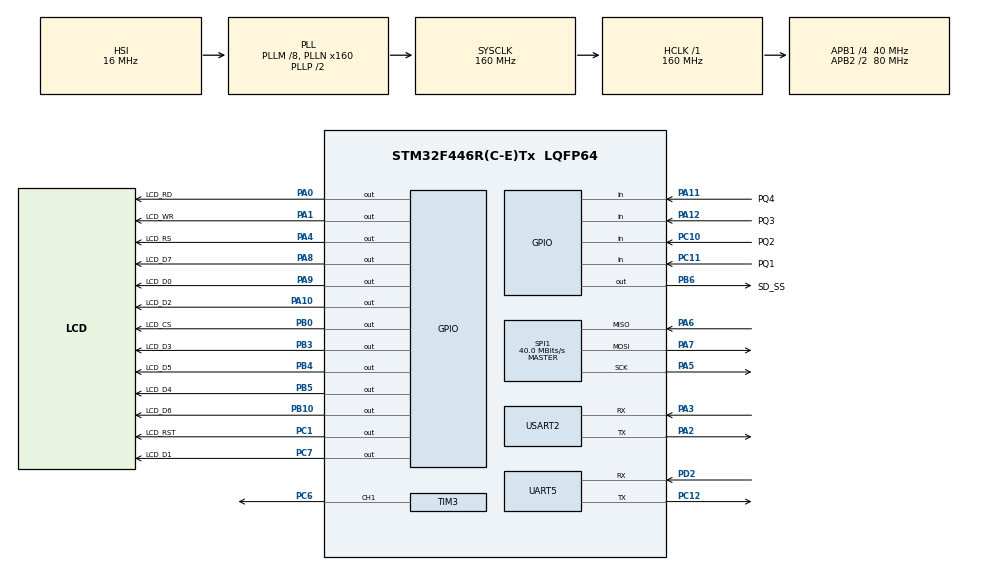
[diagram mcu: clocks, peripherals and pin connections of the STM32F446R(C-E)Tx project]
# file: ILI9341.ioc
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Dma.Request0=TIM3_CH1/TRIG
Dma.TIM3_CH1/TRIG.0.Direction=DMA_MEMORY_TO_PERIPH
Dma.TIM3_CH1/TRIG.0.FIFOMode=DMA_FIFOMODE_DISABLE
Dma.TIM3_CH1/TRIG.0.Instance=DMA1_Stream4
Dma.TIM3_CH1/TRIG.0.MemDataAlignment=DMA_MDATAALIGN_HALFWORD
Dma.TIM3_CH1/TRIG.0.MemInc=DMA_MINC_ENABLE
Dma.TIM3_CH1/TRIG.0.Mode=DMA_NORMAL
Dma.TIM3_CH1/TRIG.0.PeriphDataAlignment=DMA_PDATAALIGN_HALFWORD
Dma.TIM3_CH1/TRIG.0.PeriphInc=DMA_PINC_DISABLE
Dma.TIM3_CH1/TRIG.0.Priority=DMA_PRIORITY_LOW
Mcu.Family=STM32F4
Mcu.Name=STM32F446R(C-E)Tx
Mcu.Package=LQFP64
NVIC.DMA1_Stream4_IRQn=true\:0\:0\:false\:false\:true\:false\:true\:true
NVIC.PriorityGroup=NVIC_PRIORITYGROUP_4
NVIC.TIM3_IRQn=true\:0\:0\:false\:false\:true\:true\:true\:true
NVIC.UART5_IRQn=true\:0\:0\:false\:false\:true\:true\:true\:true
NVIC.USART2_IRQn=true\:0\:0\:false\:false\:true\:true\:true\:true
PA0-WKUP.GPIO_Label=LCD_RD
PA0-WKUP.GPIO_Speed=GPIO_SPEED_FREQ_HIGH
PA0-WKUP.Signal=GPIO_Output
PA1.GPIO_Label=LCD_WR
PA1.GPIO_Speed=GPIO_SPEED_FREQ_HIGH
PA1.Signal=GPIO_Output
PA10.GPIO_Label=LCD_D2
PA10.GPIO_Speed=GPIO_SPEED_FREQ_HIGH
PA10.Signal=GPIO_Output
PA11.GPIO_Label=PQ4
PA11.Signal=GPIO_Input
PA12.GPIO_Label=PQ3
PA12.Signal=GPIO_Input
PA13.Mode=Serial_Wire
PA13.Signal=SYS_JTMS-SWDIO
PA14.Mode=Serial_Wire
PA14.Signal=SYS_JTCK-SWCLK
PA2.Mode=Asynchronous
PA2.Signal=USART2_TX
PA3.Mode=Asynchronous
PA3.Signal=USART2_RX
PA4.GPIO_Label=LCD_RS
PA4.GPIO_Speed=GPIO_SPEED_FREQ_HIGH
PA4.Signal=GPIO_Output
PA5.Mode=Full_Duplex_Master
PA5.Signal=SPI1_SCK
PA6.Mode=Full_Duplex_Master
PA6.Signal=SPI1_MISO
PA7.Mode=Full_Duplex_Master
PA7.Signal=SPI1_MOSI
PA8.GPIO_Label=LCD_D7
PA8.GPIO_Speed=GPIO_SPEED_FREQ_HIGH
PA8.Signal=GPIO_Output
PA9.GPIO_Label=LCD_D0
PA9.GPIO_Speed=GPIO_SPEED_FREQ_HIGH
PA9.Signal=GPIO_Output
PB0.GPIO_Label=LCD_CS
PB0.GPIO_Speed=GPIO_SPEED_FREQ_HIGH
PB0.Signal=GPIO_Output
PB10.GPIO_Label=LCD_D6
PB10.GPIO_Speed=GPIO_SPEED_FREQ_HIGH
PB10.Signal=GPIO_Output
PB3.GPIO_Label=LCD_D3
PB3.GPIO_Speed=GPIO_SPEED_FREQ_HIGH
PB3.Signal=GPIO_Output
PB4.GPIO_Label=LCD_D5
PB4.GPIO_Speed=GPIO_SPEED_FREQ_HIGH
PB4.Signal=GPIO_Output
PB5.GPIO_Label=LCD_D4
PB5.GPIO_Speed=GPIO_SPEED_FREQ_HIGH
PB5.Signal=GPIO_Output
PB6.GPIO_Label=SD_SS
PB6.GPIO_Speed=GPIO_SPEED_FREQ_HIGH
PB6.Signal=GPIO_Output
PB9.Signal=I2C1_SDA
PC1.GPIO_Label=LCD_RST
PC1.GPIO_Speed=GPIO_SPEED_FREQ_HIGH
PC1.Signal=GPIO_Output
PC10.GPIO_Label=PQ2
PC10.Signal=GPIO_Input
PC11.GPIO_Label=PQ1
PC11.Signal=GPIO_Input
PC12.Mode=Asynchronous
PC12.Signal=UART5_TX
PC6.Signal=S_TIM3_CH1
PC7.GPIO_Label=LCD_D1
PC7.GPIO_Speed=GPIO_SPEED_FREQ_HIGH
PC7.Signal=GPIO_Output
PD2.Mode=Asynchronous
PD2.Signal=UART5_RX
PH0-OSC_IN.Mode=HSE-External-Oscillator
PH0-OSC_IN.Signal=RCC_OSC_IN
PH1-OSC_OUT.Mode=HSE-External-Oscillator
PH1-OSC_OUT.Signal=RCC_OSC_OUT
ProjectManager.HeapSize=0x200
ProjectManager.StackSize=0x400
ProjectManager.TargetToolchain=STM32CubeIDE
RCC.AHBFreq_Value=160000000
RCC.APB1CLKDivider=RCC_HCLK_DIV4
RCC.APB1Freq_Value=40000000
RCC.APB1TimFreq_Value=80000000
RCC.APB2CLKDivider=RCC_HCLK_DIV2
RCC.APB2Freq_Value=80000000
RCC.APB2TimFreq_Value=160000000
RCC.CortexFreq_Value=160000000
RCC.HCLKFreq_Value=160000000
RCC.PLLM=8
RCC.PLLN=160
RCC.SYSCLKFreq_VALUE=160000000
RCC.SYSCLKSource=RCC_SYSCLKSOURCE_PLLCLK
RCC.USBFreq_Value=160000000
RCC.VCOOutputFreq_Value=320000000
SH.S_TIM3_CH1.0=TIM3_CH1,PWM Generation1 CH1
SPI1.CalculateBaudRate=40.0 MBits/s
SPI1.Direction=SPI_DIRECTION_2LINES
SPI1.Mode=SPI_MODE_MASTER
SPI1.VirtualType=VM_MASTER
TIM3.Channel-PWM\ Generation1\ CH1=TIM_CHANNEL_1
TIM3.Period=24
TIM3.Prescaler=3
UART5.VirtualMode=Asynchronous
USART2.VirtualMode=VM_ASYNC
board=custom

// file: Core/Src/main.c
/* USER CODE BEGIN Header */
/**
 ******************************************************************************
 * @file           : main.c
 * @brief          : Main program body
 ******************************************************************************
 * @attention
 *
 * Copyright (c) 2024 STMicroelectronics.
 * All rights reserved.
 *
 * This software is licensed under terms that can be found in the LICENSE file
 * in the root directory of this software component.
 * If no LICENSE file comes with this software, it is provided AS-IS.
 *
 ******************************************************************************
 */
/* USER CODE END Header */
#include "main.h"

/* USER CODE BEGIN Includes */
#include "ili9341.h"
#include "bitmap.h"
/* USER CODE END Includes */

SPI_HandleTypeDef hspi1;

TIM_HandleTypeDef htim3;
DMA_HandleTypeDef hdma_tim3_ch1_trig;

UART_HandleTypeDef huart5;
UART_HandleTypeDef huart2;

/* USER CODE BEGIN PV */
extern uint8_t fondo[];

uint8_t option[1];
uint8_t tx_buffer[20];

int p1 = 1;
int p2 = 1;
int p3 = 1;
int p4 = 1;
int p5 = 1;
int p6 = 1;
int p7 = 1;
int p8 = 1;
int count = 0;
int m1 = 0;
int m12 = 0;
int m2 = 0;
int m22 = 0;
int m3 = 0;
int m32 = 0;
int m4 = 0;
int m42 = 0;
int m5 = 0;
int m52 = 0;
int m6 = 0;
int m62 = 0;
int m7 = 0;
int m72 = 0;
int m8 = 0;
int m82 = 0;

int PQ5 = 0;
int PQ6 = 0;
int PQ7 = 0;
int PQ8 = 0;
/* USER CODE END PV */

void SystemClock_Config(void);
static void MX_GPIO_Init(void);
static void MX_DMA_Init(void);
static void MX_SPI1_Init(void);
static void MX_TIM3_Init(void);
static void MX_USART2_UART_Init(void);
static void MX_UART5_Init(void);

/* USER CODE BEGIN 0 */
void parqueo1(){
		LCD_Sprite(15,230,37,6,car37X6,1,0,1,0);
		HAL_Delay(50);
		LCD_Sprite(15,220,37,16,car37X16,1,0,1,0);
		HAL_Delay(50);
		LCD_Sprite(15,210,37,26,car37X26,1,0,1,0);
		HAL_Delay(50);
		LCD_Sprite(15,200,37,36,car37X36,1,0,1,0);
		HAL_Delay(50);
		LCD_Sprite(15,190,37,46,car37X46,1,0,1,0);
		HAL_Delay(50);
		LCD_Sprite(15,180,37,56,car37X56,1,0,1,0);
		HAL_Delay(50);
		LCD_Sprite(15,170,37,65,car37X65,1,0,1,0);
		HAL_Delay(50);
		LCD_Sprite(15,160,37,75,car37X75,1,0,1,0);
		HAL_Delay(50);

};
void parq1(){
		LCD_Sprite(15,170,37,65,car37X65,1,0,1,0);
		FillRect(15, 160, 37, 10, 0x0000);
		HAL_Delay(50);
		LCD_Sprite(15,180,37,56,car37X56,1,0,1,0);
		FillRect(15, 170, 37, 10, 0x0000);
		HAL_Delay(50);
		LCD_Sprite(15,190,37,46,car37X46,1,0,1,0);
		FillRect(15, 180, 37, 10, 0x0000);
		HAL_Delay(50);
		LCD_Sprite(15,200,37,36,car37X36,1,0,1,0);
		FillRect(15, 190, 37, 10, 0x0000);
		HAL_Delay(50);
		LCD_Sprite(15,210,37,26,car37X26,1,0,1,0);
		FillRect(15, 200, 37, 10, 0x0000);
		HAL_Delay(50);
		LCD_Sprite(15,220,37,16,car37X16,1,0,1,0);
		FillRect(15, 210, 37, 10, 0x0000);
		HAL_Delay(50);
		LCD_Sprite(15,230,37,6,car37X6,1,0,1,0);
		FillRect(15, 220, 37, 10, 0x0000);
		HAL_Delay(50);
		FillRect(15, 230, 37, 10, 0x0000);
};
void parqueo2(){
		LCD_Bitmap(70, 230, 38,5, car38x5);
		HAL_Delay(50);
		LCD_Bitmap(70,220,38,15,car38x15);
		HAL_Delay(50);
		LCD_Bitmap(70,210,38,25,car38x25);
		HAL_Delay(50);
		LCD_Bitmap(70,200,38,35,car38x35);
		HAL_Delay(50);
		LCD_Bitmap(70,190,38,45,car38x45);
		HAL_Delay(50);
		LCD_Bitmap(70,180,38,55,car38x55);
		HAL_Delay(50);
		LCD_Bitmap(70,170,38,65,car38x65);
		HAL_Delay(50);
		LCD_Bitmap(70,160,38,75,car38x75);
		HAL_Delay(50);

};
void parq2(){
		LCD_Bitmap(70,170,38,65,car38x65);
		FillRect(70, 160, 38, 10, 0x0000);
		HAL_Delay(50);
		LCD_Bitmap(70,180,38,56,car38x55);
		FillRect(70, 170, 38, 10, 0x0000);
		HAL_Delay(50);
		LCD_Bitmap(70,190,38,45,car38x45);
		FillRect(70, 180, 38, 10, 0x0000);
		HAL_Delay(50);
		LCD_Bitmap(70,200,38,35,car38x35);
		FillRect(70, 190, 38, 10, 0x0000);
		HAL_Delay(50);
		LCD_Bitmap(70,210,38,25,car38x25);
		FillRect(70, 200, 38, 10, 0x0000);
		HAL_Delay(50);
		LCD_Bitmap(70,220,38,15,car38x15);
		FillRect(70, 210, 38, 10, 0x0000);
		HAL_Delay(50);
		LCD_Bitmap(70,230,38,5,car38x5);
		FillRect(70, 220, 38, 10, 0x0000);
		HAL_Delay(50);
		FillRect(70, 230, 38, 10, 0x0000);
};
void parqueo3(){
		LCD_Bitmap(123, 230, 36,5, car36x5);
		HAL_Delay(50);
		LCD_Bitmap(123,220,36,15,car36x15);
		HAL_Delay(50);
		LCD_Bitmap(123,210,36,25,car36x25);
		HAL_Delay(50);
		LCD_Bitmap(123,200,36,35,car36x35);
		HAL_Delay(50);
		LCD_Bitmap(123,190,36,45,car36x45);
		HAL_Delay(50);
		LCD_Bitmap(123,180,36,55,car36x55);
		HAL_Delay(50);
		LCD_Bitmap(123,170,36,65,car36x65);
		HAL_Delay(50);
		LCD_Bitmap(123,160,36,75,car36x75);
		HAL_Delay(50);

};
void parq3(){
		LCD_Bitmap(123,170,36,65,car36x65);
		FillRect(123, 160, 36, 10, 0x0000);
		HAL_Delay(50);
		LCD_Bitmap(123,180,36,56,car36x55);
		FillRect(123, 170, 36, 10, 0x0000);
		HAL_Delay(50);
		LCD_Bitmap(123,190,36,45,car36x45);
		FillRect(123, 180, 36, 10, 0x0000);
		HAL_Delay(50);
		LCD_Bitmap(123,200,36,35,car36x35);
		FillRect(123, 190, 36, 10, 0x0000);
		HAL_Delay(50);
		LCD_Bitmap(123,210,36,25,car36x25);
		FillRect(123, 200, 36, 10, 0x0000);
		HAL_Delay(50);
		LCD_Bitmap(123,220,36,15,car36x15);
		FillRect(123, 210, 36, 10, 0x0000);
		HAL_Delay(50);
		LCD_Bitmap(123,230,36,5,car36x5);
		FillRect(123, 220, 36, 10, 0x0000);
		HAL_Delay(50);
		FillRect(123, 230, 36, 10, 0x0000);
};
void parqueo4(){
		LCD_Bitmap(180, 230, 38,5, caro38x5);
		HAL_Delay(50);
		LCD_Bitmap(180,220,38,15,caro38x15);
		HAL_Delay(50);
		LCD_Bitmap(180,210,38,25,caro38x25);
		HAL_Delay(50);
		LCD_Bitmap(180,200,38,35,caro38x35);
		HAL_Delay(50);
		LCD_Bitmap(180,190,38,45,caro38x45);
		HAL_Delay(50);
		LCD_Bitmap(180,180,38,55,caro38x55);
		HAL_Delay(50);
		LCD_Bitmap(180,170,38,65,caro38x65);
		HAL_Delay(50);
		LCD_Bitmap(180,160,38,75,caro38x75);
		HAL_Delay(50);

};
void parq4(){
		LCD_Bitmap(180,170,38,65,caro38x65);
		FillRect(180, 160, 38, 10, 0x0000);
		HAL_Delay(50);
		LCD_Bitmap(180,180,38,56,caro38x55);
		FillRect(180, 170, 38, 10, 0x0000);
		HAL_Delay(50);
		LCD_Bitmap(180,190,38,45,caro38x45);
		FillRect(180, 180, 38, 10, 0x0000);
		HAL_Delay(50);
		LCD_Bitmap(180,200,38,35,caro38x35);
		FillRect(180, 190, 38, 10, 0x0000);
		HAL_Delay(50);
		LCD_Bitmap(180,210,38,25,caro38x25);
		FillRect(180, 200, 38, 10, 0x0000);
		HAL_Delay(50);
		LCD_Bitmap(180,220,38,15,caro38x15);
		FillRect(180, 210, 38, 10, 0x0000);
		HAL_Delay(50);
		LCD_Bitmap(180,230,38,5,caro38x5);
		FillRect(180, 220, 38, 10, 0x0000);
		HAL_Delay(50);
		FillRect(180, 230, 38, 10, 0x0000);
};
void parqueo5(){
		LCD_Bitmap(15, 5, 35,5, car35x5);
		HAL_Delay(50);
		LCD_Bitmap(15,5,35,15,car35x15);
		HAL_Delay(50);
		LCD_Bitmap(15,5,35,25,car35x25);
		HAL_Delay(50);
		LCD_Bitmap(15,5,35,35,car35x35);
		HAL_Delay(50);
		LCD_Bitmap(15,5,35,45,car35x45);
		HAL_Delay(50);
		LCD_Bitmap(15,5,35,55,car35x55);
		HAL_Delay(50);
		LCD_Bitmap(15,5,35,65,car35x65);
		HAL_Delay(50);
		LCD_Bitmap(15,5,35,75,car35x75);
		HAL_Delay(50);

};
void parq5(){
		FillRect(15, 70, 35, 10, 0x0000);
		LCD_Bitmap(15, 5,35,65,car35x65);
		HAL_Delay(50);
		FillRect(15, 60, 35, 10, 0x0000);
		LCD_Bitmap(15,5,35,56,car35x55);
		HAL_Delay(50);
		FillRect(15, 49, 35, 12, 0x0000);
		LCD_Bitmap(15,5,35,45,car35x45);
		HAL_Delay(50);
		FillRect(15,40, 35, 10, 0x0000);
		LCD_Bitmap(15,5,35,35,car35x35);
		HAL_Delay(50);
		FillRect(15, 30, 35, 10, 0x0000);
		LCD_Bitmap(15,5,35,25,car35x25);
		HAL_Delay(50);
		FillRect(15, 20, 35, 10, 0x0000);
		LCD_Bitmap(15,5,35,15,car35x15);
		HAL_Delay(50);
		FillRect(15, 10, 35, 10, 0x0000);
		LCD_Bitmap(15,5,35,5,car35x5);
		HAL_Delay(50);
		FillRect(15, 5, 35, 10, 0x0000);

};
void parqueo6(){
		LCD_Bitmap(70, 5, 38,5, cars38x5);
		HAL_Delay(50);
		LCD_Bitmap(70,5,38,15,cars38x15);
		HAL_Delay(50);
		LCD_Bitmap(70,5,38,25,cars38x25);
		HAL_Delay(50);
		LCD_Bitmap(70,5,38,35,cars38x35);
		HAL_Delay(50);
		LCD_Bitmap(70,5,38,45,cars38x45);
		HAL_Delay(50);
		LCD_Bitmap(70,5,38,55,cars38x55);
		HAL_Delay(50);
		LCD_Bitmap(70,5,38,65,cars38x65);
		HAL_Delay(50);
		LCD_Bitmap(70,5,38,75,cars38x75);
		HAL_Delay(50);

};
void parq6(){
		FillRect(70, 70, 38, 10, 0x0000);
		LCD_Bitmap(70, 5,38,65,cars38x65);
		HAL_Delay(50);
		FillRect(70, 60, 38, 10, 0x0000);
		LCD_Bitmap(70,5,38,56,cars38x55);
		HAL_Delay(50);
		FillRect(70, 49, 38, 12, 0x0000);
		LCD_Bitmap(70,5,38,45,cars38x45);
		HAL_Delay(50);
		FillRect(70,40, 38, 10, 0x0000);
		LCD_Bitmap(70,5,38,35,cars38x35);
		HAL_Delay(50);
		FillRect(70, 30, 38, 10, 0x0000);
		LCD_Bitmap(70,5,38,25,cars38x25);
		HAL_Delay(50);
		FillRect(70, 20, 38, 10, 0x0000);
		LCD_Bitmap(70,5,38,15,cars38x15);
		HAL_Delay(50);
		FillRect(70, 10, 38, 10, 0x0000);
		LCD_Bitmap(70,5,38,5,cars38x5);
		HAL_Delay(50);
		FillRect(70, 5, 38, 10, 0x0000);

};
void parqueo7(){
		LCD_Bitmap(123, 5, 37,5, cars37x5);
		HAL_Delay(50);
		LCD_Bitmap(123,5,37,15,cars37x15);
		HAL_Delay(50);
		LCD_Bitmap(123,5,37,25,cars37x25);
		HAL_Delay(50);
		LCD_Bitmap(123,5,37,35,cars37x35);
		HAL_Delay(50);
		LCD_Bitmap(123,5,37,45,cars37x45);
		HAL_Delay(50);
		LCD_Bitmap(123,5,37,55,cars37x55);
		HAL_Delay(50);
		LCD_Bitmap(123,5,37,65,cars37x65);
		HAL_Delay(50);
		LCD_Bitmap(123,5,37,75,cars37x75);
		HAL_Delay(50);

};
void parq7(){
		FillRect(123, 70, 37, 10, 0x0000);
		LCD_Bitmap(123, 5,37,65,cars37x65);
		HAL_Delay(50);
		FillRect(123, 60, 37, 10, 0x0000);
		LCD_Bitmap(123,5,37,56,cars37x55);
		HAL_Delay(50);
		FillRect(123, 49, 37, 12, 0x0000);
		LCD_Bitmap(123,5,37,45,cars37x45);
		HAL_Delay(50);
		FillRect(123,40, 37, 10, 0x0000);
		LCD_Bitmap(123,5,37,35,cars37x35);
		HAL_Delay(50);
		FillRect(123, 30, 37, 10, 0x0000);
		LCD_Bitmap(123,5,37,25,cars37x25);
		HAL_Delay(50);
		FillRect(123, 20, 37, 10, 0x0000);
		LCD_Bitmap(123,5,37,15,cars37x15);
		HAL_Delay(50);
		FillRect(123, 10, 37, 10, 0x0000);
		LCD_Bitmap(123,5,37,5,cars37x5);
		HAL_Delay(50);
		FillRect(123, 5, 37, 10, 0x0000);

};
void parqueo8(){
		LCD_Bitmap(180, 5, 38,5, caros38x5);
		HAL_Delay(50);
		LCD_Bitmap(180,5,38,15,caros38x15);
		HAL_Delay(50);
		LCD_Bitmap(180,5,38,25,caros38x25);
		HAL_Delay(50);
		LCD_Bitmap(180,5,38,35,caros38x35);
		HAL_Delay(50);
		LCD_Bitmap(180,5,38,45,caros38x45);
		HAL_Delay(50);
		LCD_Bitmap(180,5,38,55,caros38x55);
		HAL_Delay(50);
		LCD_Bitmap(180,5,38,65,caros38x65);
		HAL_Delay(50);
		LCD_Bitmap(180,5,38,75,caros38x75);
		HAL_Delay(50);

};
void parq8(){
		FillRect(180, 70, 38, 10, 0x0000);
		LCD_Bitmap(180, 5,38,65,caros38x65);
		HAL_Delay(50);
		FillRect(180, 60, 38, 10, 0x0000);
		LCD_Bitmap(180,5,38,56,caros38x55);
		HAL_Delay(50);
		FillRect(180, 49, 38, 12, 0x0000);
		LCD_Bitmap(180,5,38,45,caros38x45);
		HAL_Delay(50);
		FillRect(180,40, 38, 10, 0x0000);
		LCD_Bitmap(180,5,38,35,caros38x35);
		HAL_Delay(50);
		FillRect(180, 30, 38, 10, 0x0000);
		LCD_Bitmap(180,5,38,25,caros38x25);
		HAL_Delay(50);
		FillRect(180, 20, 38, 10, 0x0000);
		LCD_Bitmap(180,5,38,15,caros38x15);
		HAL_Delay(50);
		FillRect(180, 10, 38, 10, 0x0000);
		LCD_Bitmap(180,5,38,5,caros38x5);
		HAL_Delay(50);
		FillRect(180, 5, 38, 10, 0x0000);

};
/* USER CODE END 0 */

int main(void)
{

  /* MCU Configuration--------------------------------------------------------*/

  /* Reset of all peripherals, Initializes the Flash interface and the Systick. */
  HAL_Init();

  /* Configure the system clock */
  SystemClock_Config();

  /* Initialize all configured peripherals */
  MX_GPIO_Init();
  MX_DMA_Init();
  MX_SPI1_Init();
  MX_TIM3_Init();
  MX_USART2_UART_Init();
  MX_UART5_Init();
  /* USER CODE BEGIN 2 */
  HAL_UART_Receive_IT(&huart5, option, 1);  // EMPEZAR RECEPCIÓN
	LCD_Init();

	LCD_Clear(0x00);

	FillRect(5, 86, 225, 5, 0xFFFF);
	FillRect(5, 154, 225, 5, 0xFFFF);

	FillRect(5, 6, 5, 80, 0xFFFF);
	FillRect(5, 154, 5, 80, 0xFFFF);

	FillRect(60, 6, 5, 80, 0xFFFF);
	FillRect(60, 154, 5, 80, 0xFFFF);

	FillRect(113, 6, 5, 80, 0xFFFF);
	FillRect(113, 154, 5, 80, 0xFFFF);

	FillRect(170, 6, 5, 80, 0xFFFF);
	FillRect(170, 154, 5, 80, 0xFFFF);

	FillRect(225, 6, 5, 80, 0xFFFF);
	FillRect(225, 154, 5, 80, 0xFFFF);

	LCD_Bitmap(240,20,70,70,parqueo70x70);
  /* USER CODE END 2 */

  /* Infinite loop */
	while (1) {

    /* USER CODE BEGIN 3 */

		LCD_Sprite(10,96,50,21,barra50x21,2,p5,1,0);
		LCD_Sprite(10,127,50,21,barra50x21,2,p1,1,0);
		LCD_Sprite(65,96,50,21,barra50x21,2,p6,1,0);
		LCD_Sprite(65,127,50,21,barra50x21,2,p2,1,0);
		LCD_Sprite(120,96,50,21,barra50x21,2,p7,1,0);
		LCD_Sprite(120,127,50,21,barra50x21,2,p3,1,0);
		LCD_Sprite(175,96,50,21,barra50x21,2,p8,1,0);
		LCD_Sprite(175,127,50,21,barra50x21,2,p4,1,0);

		LCD_Sprite(245,120,64,80,num64x80,9,count,0,0);

		if(HAL_GPIO_ReadPin(PQ1_GPIO_Port, PQ1_Pin) == 0){
			p1 = 0;
			transmit_uart5("a");
			HAL_Delay(50);
			if(m1 == 0){
				parqueo1();
				m1 = 1;
				m12 = 0;
			};
		}else{
			p1 = 1;
			transmit_uart5("A");
			HAL_Delay(50);
			if(m12 == 0){
				parq1();
				m12 = 1;
				m1 = 0;
			};
		};

		if(HAL_GPIO_ReadPin(PQ1_GPIO_Port, PQ2_Pin) == 0){
			p2 = 0;
			transmit_uart5("b");
			HAL_Delay(50);
			if(m2 == 0){
				parqueo2();
				m2 = 1;
				m22 = 0;
			};
		}else{
			p2 = 1;
			transmit_uart5("B");
			HAL_Delay(50);
			if(m22 == 0){
				parq2();
				m22 = 1;
				m2 = 0;
			};
		};
		if(HAL_GPIO_ReadPin(PQ3_GPIO_Port, PQ3_Pin) == 0){
			p3 = 0;
			transmit_uart5("c");
			HAL_Delay(50);
			if(m3 == 0){
				parqueo3();
				m3 = 1;
				m32 = 0;
			};
		}else{
			p3 = 1;
			transmit_uart5("C");
			HAL_Delay(50);
			if(m32 == 0){
				parq3();
				m32 = 1;
				m3 = 0;
			};
		};
		if(HAL_GPIO_ReadPin(PQ4_GPIO_Port, PQ4_Pin) == 0){
				p4 = 0;
				transmit_uart5("d");
				HAL_Delay(50);
				if(m4 == 0){
					parqueo4();
					m4 = 1;
					m42 = 0;
				};
			}else{
				p4 = 1;
				transmit_uart5("D");
				HAL_Delay(50);
				if(m42 == 0){
					parq4();
					m42 = 1;
					m4 = 0;
				};
			};
		if(PQ5 == 1){
				p5 = 0;
				if(m5 == 0){
					parqueo5();
					m5 = 1;
					m52 = 0;
				};
			}else{
				p5 = 1;
				if(m52 == 0){
					parq5();
					m52 = 1;
					m5 = 0;
				};
			};

		if(PQ6 == 1){
				p6 = 0;
				if(m6 == 0){
					parqueo6();
					m6 = 1;
					m62 = 0;
					};
			}else{
				p6 = 1;
				if(m62 == 0){
					parq6();
					m62 = 1;
					m6 = 0;
				};
			};
		if(PQ7 == 1){
				p7 = 0;
				if(m7 == 0){
					parqueo7();
					m7 = 1;
					m72 = 0;
				};
			}else{
				p7 = 1;
				if(m72 == 0){
					parq7();
					m72 = 1;
					m7 = 0;
				};
			};
		if(PQ8 == 1){
					p8 = 0;
					if(m8 == 0){
						parqueo8();
						m8 = 1;
						m82 = 0;
					};
				}else{
					p8 = 1;
					if(m82 == 0){
						parq8();
						m82 = 1;
						m8 = 0;
					};
				};

		count = p1+p2+p3+p4+p5+p6+p7+p8;

		//parqueo1();
		//parq1();

	}
  /* USER CODE END 3 */
}

void SystemClock_Config(void)
{
  RCC_OscInitTypeDef RCC_OscInitStruct = {0};
  RCC_ClkInitTypeDef RCC_ClkInitStruct = {0};

  /** Configure the main internal regulator output voltage
  */
  __HAL_RCC_PWR_CLK_ENABLE();
  __HAL_PWR_VOLTAGESCALING_CONFIG(PWR_REGULATOR_VOLTAGE_SCALE1);

  /** Initializes the RCC Oscillators according to the specified parameters
  * in the RCC_OscInitTypeDef structure.
  */
  RCC_OscInitStruct.OscillatorType = RCC_OSCILLATORTYPE_HSI;
  RCC_OscInitStruct.HSIState = RCC_HSI_ON;
  RCC_OscInitStruct.HSICalibrationValue = RCC_HSICALIBRATION_DEFAULT;
  RCC_OscInitStruct.PLL.PLLState = RCC_PLL_ON;
  RCC_OscInitStruct.PLL.PLLSource = RCC_PLLSOURCE_HSI;
  RCC_OscInitStruct.PLL.PLLM = 8;
  RCC_OscInitStruct.PLL.PLLN = 160;
  RCC_OscInitStruct.PLL.PLLP = RCC_PLLP_DIV2;
  RCC_OscInitStruct.PLL.PLLQ = 2;
  RCC_OscInitStruct.PLL.PLLR = 2;
  if (HAL_RCC_OscConfig(&RCC_OscInitStruct) != HAL_OK)
  {
    Error_Handler();
  }

  /** Initializes the CPU, AHB and APB buses clocks
  */
  RCC_ClkInitStruct.ClockType = RCC_CLOCKTYPE_HCLK|RCC_CLOCKTYPE_SYSCLK
                              |RCC_CLOCKTYPE_PCLK1|RCC_CLOCKTYPE_PCLK2;
  RCC_ClkInitStruct.SYSCLKSource = RCC_SYSCLKSOURCE_PLLCLK;
  RCC_ClkInitStruct.AHBCLKDivider = RCC_SYSCLK_DIV1;
  RCC_ClkInitStruct.APB1CLKDivider = RCC_HCLK_DIV4;
  RCC_ClkInitStruct.APB2CLKDivider = RCC_HCLK_DIV2;

  if (HAL_RCC_ClockConfig(&RCC_ClkInitStruct, FLASH_LATENCY_5) != HAL_OK)
  {
    Error_Handler();
  }
}

static void MX_SPI1_Init(void)
{

  /* SPI1 parameter configuration*/
  hspi1.Instance = SPI1;
  hspi1.Init.Mode = SPI_MODE_MASTER;
  hspi1.Init.Direction = SPI_DIRECTION_2LINES;
  hspi1.Init.DataSize = SPI_DATASIZE_8BIT;
  hspi1.Init.CLKPolarity = SPI_POLARITY_LOW;
  hspi1.Init.CLKPhase = SPI_PHASE_1EDGE;
  hspi1.Init.NSS = SPI_NSS_SOFT;
  hspi1.Init.BaudRatePrescaler = SPI_BAUDRATEPRESCALER_2;
  hspi1.Init.FirstBit = SPI_FIRSTBIT_MSB;
  hspi1.Init.TIMode = SPI_TIMODE_DISABLE;
  hspi1.Init.CRCCalculation = SPI_CRCCALCULATION_DISABLE;
  hspi1.Init.CRCPolynomial = 10;
  if (HAL_SPI_Init(&hspi1) != HAL_OK)
  {
    Error_Handler();
  }

}

static void MX_TIM3_Init(void)
{

  TIM_MasterConfigTypeDef sMasterConfig = {0};
  TIM_OC_InitTypeDef sConfigOC = {0};

  htim3.Instance = TIM3;
  htim3.Init.Prescaler = 3;
  htim3.Init.CounterMode = TIM_COUNTERMODE_UP;
  htim3.Init.Period = 24;
  htim3.Init.ClockDivision = TIM_CLOCKDIVISION_DIV1;
  htim3.Init.AutoReloadPreload = TIM_AUTORELOAD_PRELOAD_DISABLE;
  if (HAL_TIM_PWM_Init(&htim3) != HAL_OK)
  {
    Error_Handler();
  }
  sMasterConfig.MasterOutputTrigger = TIM_TRGO_RESET;
  sMasterConfig.MasterSlaveMode = TIM_MASTERSLAVEMODE_DISABLE;
  if (HAL_TIMEx_MasterConfigSynchronization(&htim3, &sMasterConfig) != HAL_OK)
  {
    Error_Handler();
  }
  sConfigOC.OCMode = TIM_OCMODE_PWM1;
  sConfigOC.Pulse = 0;
  sConfigOC.OCPolarity = TIM_OCPOLARITY_HIGH;
  sConfigOC.OCFastMode = TIM_OCFAST_DISABLE;
  if (HAL_TIM_PWM_ConfigChannel(&htim3, &sConfigOC, TIM_CHANNEL_1) != HAL_OK)
  {
    Error_Handler();
  }
  HAL_TIM_MspPostInit(&htim3);

}

static void MX_UART5_Init(void)
{

  huart5.Instance = UART5;
  huart5.Init.BaudRate = 115200;
  huart5.Init.WordLength = UART_WORDLENGTH_8B;
  huart5.Init.StopBits = UART_STOPBITS_1;
  huart5.Init.Parity = UART_PARITY_NONE;
  huart5.Init.Mode = UART_MODE_TX_RX;
  huart5.Init.HwFlowCtl = UART_HWCONTROL_NONE;
  huart5.Init.OverSampling = UART_OVERSAMPLING_16;
  if (HAL_UART_Init(&huart5) != HAL_OK)
  {
    Error_Handler();
  }

}

static void MX_USART2_UART_Init(void)
{

  huart2.Instance = USART2;
  huart2.Init.BaudRate = 115200;
  huart2.Init.WordLength = UART_WORDLENGTH_8B;
  huart2.Init.StopBits = UART_STOPBITS_1;
  huart2.Init.Parity = UART_PARITY_NONE;
  huart2.Init.Mode = UART_MODE_TX_RX;
  huart2.Init.HwFlowCtl = UART_HWCONTROL_NONE;
  huart2.Init.OverSampling = UART_OVERSAMPLING_16;
  if (HAL_UART_Init(&huart2) != HAL_OK)
  {
    Error_Handler();
  }

}

static void MX_DMA_Init(void)
{

  /* DMA controller clock enable */
  __HAL_RCC_DMA1_CLK_ENABLE();

  /* DMA interrupt init */
  /* DMA1_Stream4_IRQn interrupt configuration */
  HAL_NVIC_SetPriority(DMA1_Stream4_IRQn, 0, 0);
  HAL_NVIC_EnableIRQ(DMA1_Stream4_IRQn);

}

static void MX_GPIO_Init(void)
{
  GPIO_InitTypeDef GPIO_InitStruct = {0};

  /* GPIO Ports Clock Enable */
  __HAL_RCC_GPIOH_CLK_ENABLE();
  __HAL_RCC_GPIOC_CLK_ENABLE();
  __HAL_RCC_GPIOA_CLK_ENABLE();
  __HAL_RCC_GPIOB_CLK_ENABLE();
  __HAL_RCC_GPIOD_CLK_ENABLE();

  /*Configure GPIO pin Output Level */
  HAL_GPIO_WritePin(GPIOC, LCD_RST_Pin|LCD_D1_Pin, GPIO_PIN_RESET);

  /*Configure GPIO pin Output Level */
  HAL_GPIO_WritePin(GPIOA, LCD_RD_Pin|LCD_WR_Pin|LCD_RS_Pin|LCD_D7_Pin
                          |LCD_D0_Pin|LCD_D2_Pin, GPIO_PIN_RESET);

  /*Configure GPIO pin Output Level */
  HAL_GPIO_WritePin(GPIOB, LCD_CS_Pin|LCD_D6_Pin|LCD_D3_Pin|LCD_D5_Pin
                          |LCD_D4_Pin|SD_SS_Pin, GPIO_PIN_RESET);

  /*Configure GPIO pins : LCD_RST_Pin LCD_D1_Pin */
  GPIO_InitStruct.Pin = LCD_RST_Pin|LCD_D1_Pin;
  GPIO_InitStruct.Mode = GPIO_MODE_OUTPUT_PP;
  GPIO_InitStruct.Pull = GPIO_NOPULL;
  GPIO_InitStruct.Speed = GPIO_SPEED_FREQ_HIGH;
  HAL_GPIO_Init(GPIOC, &GPIO_InitStruct);

  /*Configure GPIO pins : LCD_RD_Pin LCD_WR_Pin LCD_RS_Pin LCD_D7_Pin
                           LCD_D0_Pin LCD_D2_Pin */
  GPIO_InitStruct.Pin = LCD_RD_Pin|LCD_WR_Pin|LCD_RS_Pin|LCD_D7_Pin
                          |LCD_D0_Pin|LCD_D2_Pin;
  GPIO_InitStruct.Mode = GPIO_MODE_OUTPUT_PP;
  GPIO_InitStruct.Pull = GPIO_NOPULL;
  GPIO_InitStruct.Speed = GPIO_SPEED_FREQ_HIGH;
  HAL_GPIO_Init(GPIOA, &GPIO_InitStruct);

  /*Configure GPIO pins : LCD_CS_Pin LCD_D6_Pin LCD_D3_Pin LCD_D5_Pin
                           LCD_D4_Pin SD_SS_Pin */
  GPIO_InitStruct.Pin = LCD_CS_Pin|LCD_D6_Pin|LCD_D3_Pin|LCD_D5_Pin
                          |LCD_D4_Pin|SD_SS_Pin;
  GPIO_InitStruct.Mode = GPIO_MODE_OUTPUT_PP;
  GPIO_InitStruct.Pull = GPIO_NOPULL;
  GPIO_InitStruct.Speed = GPIO_SPEED_FREQ_HIGH;
  HAL_GPIO_Init(GPIOB, &GPIO_InitStruct);

  /*Configure GPIO pins : PQ4_Pin PQ3_Pin */
  GPIO_InitStruct.Pin = PQ4_Pin|PQ3_Pin;
  GPIO_InitStruct.Mode = GPIO_MODE_INPUT;
  GPIO_InitStruct.Pull = GPIO_NOPULL;
  HAL_GPIO_Init(GPIOA, &GPIO_InitStruct);

  /*Configure GPIO pins : PQ2_Pin PQ1_Pin */
  GPIO_InitStruct.Pin = PQ2_Pin|PQ1_Pin;
  GPIO_InitStruct.Mode = GPIO_MODE_INPUT;
  GPIO_InitStruct.Pull = GPIO_NOPULL;
  HAL_GPIO_Init(GPIOC, &GPIO_InitStruct);

  /*Configure GPIO pin : PB9 */
  GPIO_InitStruct.Pin = GPIO_PIN_9;
  GPIO_InitStruct.Mode = GPIO_MODE_AF_OD;
  GPIO_InitStruct.Pull = GPIO_NOPULL;
  GPIO_InitStruct.Speed = GPIO_SPEED_FREQ_VERY_HIGH;
  GPIO_InitStruct.Alternate = GPIO_AF4_I2C1;
  HAL_GPIO_Init(GPIOB, &GPIO_InitStruct);

}

/* USER CODE BEGIN 4 */
void transmit_uart5(char *message){
	HAL_UART_Transmit(&huart5, (uint8_t*)message, strlen(message), HAL_MAX_DELAY);
}

void HAL_UART_RxCpltCallback(UART_HandleTypeDef *huart){
	  if(huart->Instance == UART5){

	    		  switch (option[0]){

	    		  case 'E':
	    			  PQ5 = 1;
	    			  break;
	    		  case 'e':
	    			  PQ5 = 0;
	    			  break;
	    		  case 'F':
	    			  PQ6 = 1;
	    		 	  break;
	    		  case 'f':
	    		 	  PQ6 = 0;
	    		 	  break;
	    		  case 'G':
	    		  	  PQ7 = 1;
	    		  	  break;
	    		  case 'g':
	    		  	  PQ7 = 0;
	    		  	  break;
	    		  case 'H':
	    		  	  PQ8 = 1;
	    		  	  break;
	    		  case 'h':
	    		  	  PQ8 = 0;
	    		  	  break;
	    		  default:
	    			  break;
	    		  }

	    		  HAL_UART_Transmit(&huart5, tx_buffer, strlen(tx_buffer), 10);
	    	  	  HAL_UART_Receive_IT(&huart5, option, 1);

	    	  }
}
/* USER CODE END 4 */

void Error_Handler(void)
{
	__disable_irq();
	while (1) {
	}
}
